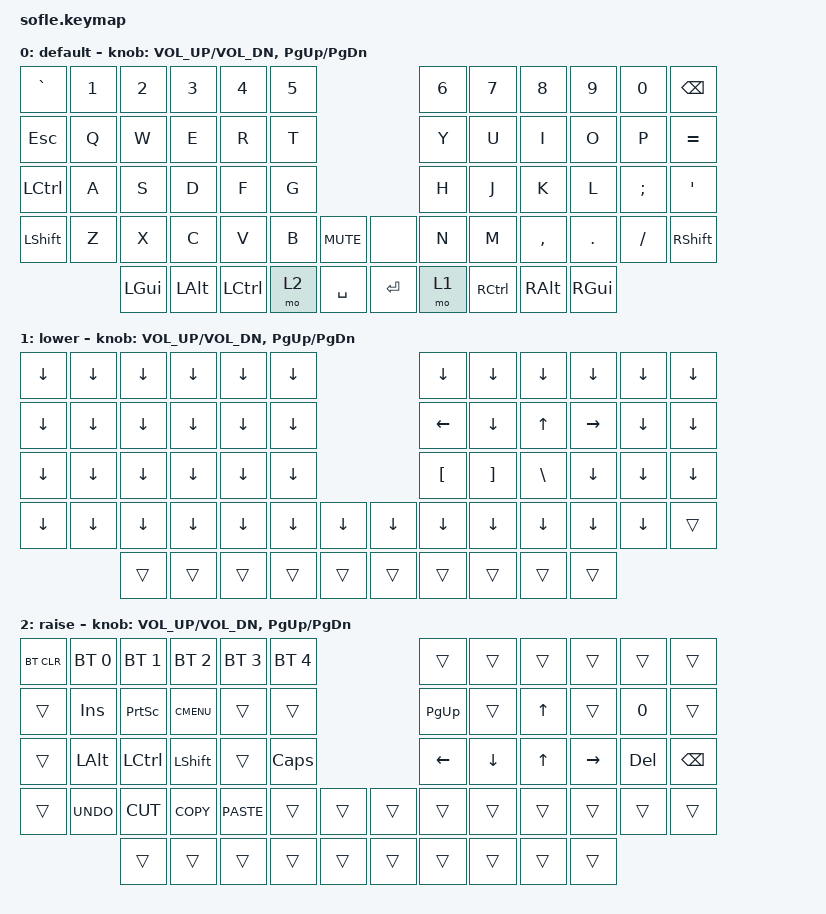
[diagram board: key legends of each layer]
/*
 * Copyright (c) 2020 The ZMK Contributors
 *
 * SPDX-License-Identifier: MIT
 */

#include <behaviors.dtsi>
#include <dt-bindings/zmk/bt.h>
#include <dt-bindings/zmk/keys.h>

#define BASE 0
#define LOWER 1
#define RAISE 2
#define ADJUST 3

/ {
    // Activate ADJUST layer by pressing raise and lower

    conditional_layers { compatible = "zmk,conditional-layers"; };

    keymap {
        compatible = "zmk,keymap";

        default_layer {
            display-name = "default";

            // ------------------------------------------------------------------------------------------------------------
            // |   `   |  1  |  2  |  3   |  4   |  5   |                   |  6   |  7    |  8    |  9   |   0   |       |
            // |  ESC  |  Q  |  W  |  E   |  R   |  T   |                   |  Y   |  U    |  I    |  O   |   P   | BKSPC |
            // |  TAB  |  A  |  S  |  D   |  F   |  G   |                   |  H   |  J    |  K    |  L   |   ;   |   '   |
            // | SHIFT |  Z  |  X  |  C   |  V   |  B   |  MUTE  |  |       |  N   |  M    |  ,    |  .   |   /   | SHIFT |
            //               | GUI | ALT  | CTRL | LOWER|  ENTER |  | SPACE | RAISE| CTRL  | ALT   | GUI  |

            bindings = <
&kp GRAVE  &kp N1  &kp N2    &kp N3    &kp N4     &kp N5                           &kp N6  &kp N7     &kp N8     &kp N9    &kp N0    &kp BACKSPACE
&kp ESC    &kp Q   &kp W     &kp E     &kp R      &kp T                            &kp Y   &kp U      &kp I      &kp O     &kp P     &kp EQUAL
&kp LCTRL  &kp A   &kp S     &kp D     &kp F      &kp G                            &kp H   &kp J      &kp K      &kp L     &kp SEMI  &kp SQT
&kp LSHFT  &kp Z   &kp X     &kp C     &kp V      &kp B   &kp C_MUTE    &none      &kp N   &kp M      &kp COMMA  &kp DOT   &kp FSLH  &kp RSHFT
                   &kp LGUI  &kp LALT  &kp LCTRL  &mo 2   &kp SPACE     &kp ENTER  &mo 1   &kp RCTRL  &kp RALT   &kp RGUI
            >;

            sensor-bindings = <&inc_dec_kp C_VOL_UP C_VOL_DN &inc_dec_kp PG_UP PG_DN>;
        };

        lower_layer {
            display-name = "lower";

            // TODO: Some binds are waiting for shifted keycode support.
            // ------------------------------------------------------------------------------------------------------------
            // |       |  F1 |  F2 |  F3  |  F4  |  F5  |                   |  F6  |  F7   |  F8   |  F9  |  F10  |  F11  |
            // |   `   |  1  |  2  |  3   |  4   |  5   |                   |  6   |  7    |  8    |  9   |   0   |  F12  |
            // |       |  !  |  @  |  #   |  $   |  %   |                   |  ^   |  &    |  *    |  (   |   )   |   |   |
            // |       |  =  |  -  |  +   |  {   |  }   |        |  |       |  [   |  ]    |  ;    |  :   |   \   |       |
            //               |     |      |      |      |        |  |       |      |       |       |      |

            bindings = <
&kp DOWN  &kp DOWN  &kp DOWN  &kp DOWN  &kp DOWN  &kp DOWN                        &kp DOWN  &kp DOWN  &kp DOWN  &kp DOWN   &kp DOWN  &kp DOWN
&kp DOWN  &kp DOWN  &kp DOWN  &kp DOWN  &kp DOWN  &kp DOWN                        &kp LEFT  &kp DOWN  &kp UP    &kp RIGHT  &kp DOWN  &kp DOWN
&kp DOWN  &kp DOWN  &kp DOWN  &kp DOWN  &kp DOWN  &kp DOWN                        &kp LBKT  &kp RBKT  &kp BSLH  &kp DOWN   &kp DOWN  &kp DOWN
&kp DOWN  &kp DOWN  &kp DOWN  &kp DOWN  &kp DOWN  &kp DOWN  &kp DOWN    &kp DOWN  &kp DOWN  &kp DOWN  &kp DOWN  &kp DOWN   &kp DOWN  &trans
                    &trans    &trans    &trans    &trans    &trans      &trans    &trans    &trans    &trans    &trans
            >;

            sensor-bindings = <&inc_dec_kp C_VOL_UP C_VOL_DN &inc_dec_kp PG_UP PG_DN>;
        };

        raise_layer {
            display-name = "raise";

            // ------------------------------------------------------------------------------------------------------------
            // | BTCLR | BT1  | BT2  |  BT3  |  BT4  |  BT5 |                |      |      |       |      |       |       |
            // |       | INS  | PSCR | GUI   |       |      |                | PGUP |      |   ^   |      |       |       |
            // |       | ALT  | CTRL | SHIFT |       | CAPS |                | PGDN |   <- |   v   |  ->  |  DEL  | BKSPC |
            // |       | UNDO | CUT  | COPY  | PASTE |      |      |  |      |      |      |       |      |       |       |
            //                |      |       |       |      |      |  |      |      |      |       |      |

            bindings = <
&bt BT_CLR  &bt BT_SEL 0  &bt BT_SEL 1  &bt BT_SEL 2  &bt BT_SEL 3  &bt BT_SEL 4                    &trans     &trans    &trans  &trans     &trans   &trans
&trans      &kp INS       &kp PSCRN     &kp K_CMENU   &trans        &trans                          &kp PG_UP  &trans    &kp UP  &trans     &kp N0   &trans
&trans      &kp LALT      &kp LCTRL     &kp LSHFT     &trans        &kp CLCK                        &kp LEFT   &kp DOWN  &kp UP  &kp RIGHT  &kp DEL  &kp BSPC
&trans      &kp K_UNDO    &kp K_CUT     &kp K_COPY    &kp K_PASTE   &trans        &trans    &trans  &trans     &trans    &trans  &trans     &trans   &trans
                          &trans        &trans        &trans        &trans        &trans    &trans  &trans     &trans    &trans  &trans
            >;

            sensor-bindings = <&inc_dec_kp C_VOL_UP C_VOL_DN &inc_dec_kp PG_UP PG_DN>;
        };
    };
};

